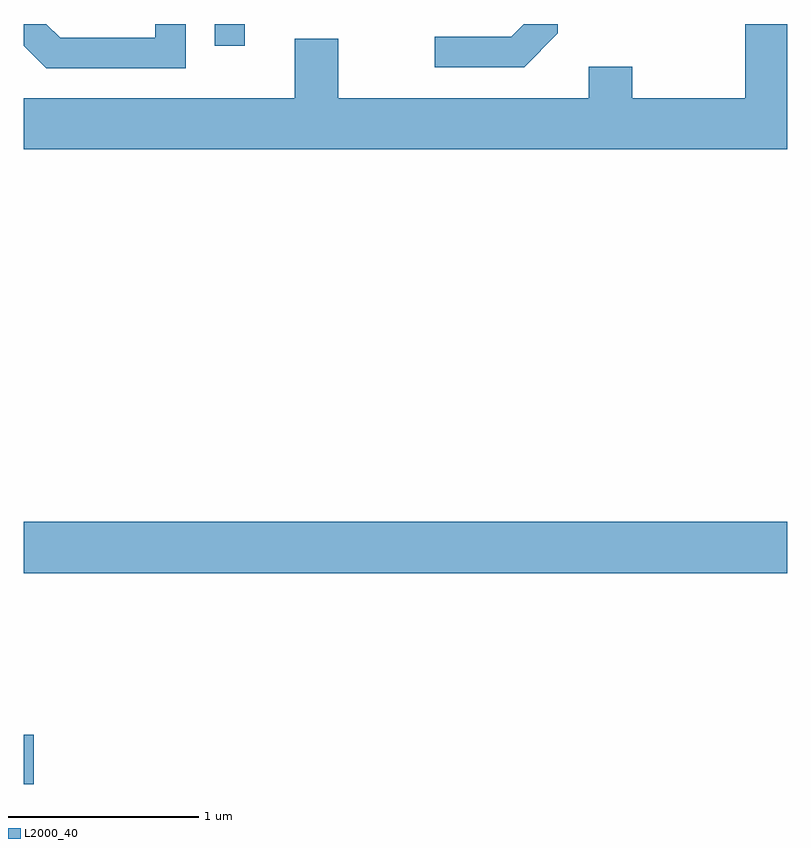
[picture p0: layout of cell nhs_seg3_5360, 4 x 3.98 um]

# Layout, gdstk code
import gdstk
lib = gdstk.Library(unit=1e-6, precision=1e-09)
def R(c, l, rs):  # rectangles x0, y0, x1, y1
    for r in rs: c.add(gdstk.rectangle(r[:2], r[2:], *l))
def P(c, l, *ps):  # polygons
    for p in ps: c.add(gdstk.Polygon(p, *l))
L2000_40 = (2000, 40)

nhs_seg3_5360 = lib.new_cell('nhs_seg3_5360')
R(nhs_seg3_5360, L2000_40, [(341.611,1235.911,341.664,1236.169), (341.611,1237.016,345.611,1237.284), (342.611,1239.778,342.769,1239.892)])
P(nhs_seg3_5360, L2000_40, [(345.611,1239.892),(345.391,1239.892),(345.391,1239.504),(344.799,1239.504),(344.799,1239.669),(344.571,1239.669),(344.571,1239.504),(343.259,1239.504),(343.259,1239.814),(343.031,1239.814),(343.031,1239.504),(341.611,1239.504),(341.611,1239.236),(345.611,1239.236)],
  [(342.459,1239.892),(342.301,1239.892),(342.301,1239.819),(341.802,1239.819),(341.729,1239.892),(341.611,1239.892),(341.611,1239.779),(341.729,1239.661),(342.459,1239.661)],
  [(344.409,1239.844),(344.409,1239.892),(344.231,1239.892),(344.164,1239.824),(343.763,1239.824),(343.763,1239.666),(344.232,1239.666)])

lib.write_gds('nhs_seg3_5360.gds')
